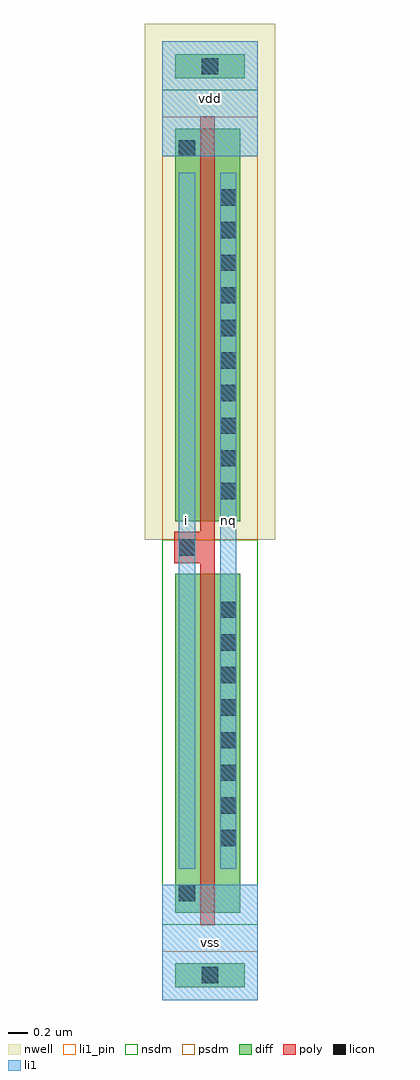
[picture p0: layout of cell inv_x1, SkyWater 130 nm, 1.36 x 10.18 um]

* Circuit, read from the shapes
.subckt inv_x1 i nq vdd vss
XM1 nq i vss VSUBS sky130_fd_pr__nfet_01v8 w=3.535 l=0.15
XM2 nq i vdd n1 sky130_fd_pr__pfet_01v8 w=4.095 l=0.15
.ends

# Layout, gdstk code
import gdstk
lib = gdstk.Library(unit=1e-6, precision=1e-09)
def R(c, l, rs):  # rectangles x0, y0, x1, y1
    for r in rs: c.add(gdstk.rectangle(r[:2], r[2:], *l))
def A(c, l, x, y, w, h, nx, ny, dx, dy):  # array of equal rectangles
    R(c, l, [(x+i*dx, y+j*dy, x+i*dx+w, y+j*dy+h) for i in range(nx) for j in range(ny)])
def P(c, l, *ps):  # polygons
    for p in ps: c.add(gdstk.Polygon(p, *l))
nwell = (64, 20)
diff = (65, 20)
poly = (66, 20)
licon = (66, 44)
li1_pin = (67, 16)
li1 = (67, 20)
nsdm = (93, 44)
psdm = (94, 20)

inv_x1 = lib.new_cell('inv_x1')
R(inv_x1, nwell, [(-0.18,4.8,1.18,10.18)])
R(inv_x1, diff, [(0.135,0.135,0.865,0.385), (0.135,0.91,0.815,4.445), (0.135,4.995,0.815,9.09), (0.135,9.615,0.865,9.865)])
P(inv_x1, poly, [(0.4,0.78),(0.4,4.555),(0.125,4.555),(0.125,4.885),(0.4,4.885),(0.4,9.22),(0.55,9.22),(0.55,0.78)])
A(inv_x1, licon, 0.605, 1.605, 0.17, 0.17, 1, 8, 0, 0.34)
A(inv_x1, licon, 0.605, 5.225, 0.17, 0.17, 1, 10, 0, 0.34)
R(inv_x1, licon, [(0.415,0.175,0.585,0.345), (0.175,1.03,0.345,1.2), (0.175,4.635,0.345,4.805), (0.175,8.8,0.345,8.97), (0.415,9.655,0.585,9.825)])
R(inv_x1, li1_pin, [(0,0,1,1.2), (0.175,1.37,0.345,8.63), (0.605,1.37,0.775,8.63), (0,8.8,1,10)])
R(inv_x1, li1, [(0,0,1,1.2), (0.175,1.37,0.345,8.63), (0.605,1.37,0.775,8.63), (0,8.8,1,10)])
R(inv_x1, nsdm, [(0,0.785,1,4.8), (0,9.49,1,10)])
R(inv_x1, psdm, [(0,0,1,0.51), (0,4.8,1,9.215)])
inv_x1.add(gdstk.Label('vss', (0.5,0.6), layer=67, texttype=16))
inv_x1.add(gdstk.Label('vdd', (0.5,9.4), layer=67, texttype=16))
inv_x1.add(gdstk.Label('nq', (0.69,5), layer=67, texttype=16))
inv_x1.add(gdstk.Label('i', (0.26,5), layer=67, texttype=16))

lib.write_gds('inv_x1.gds')
